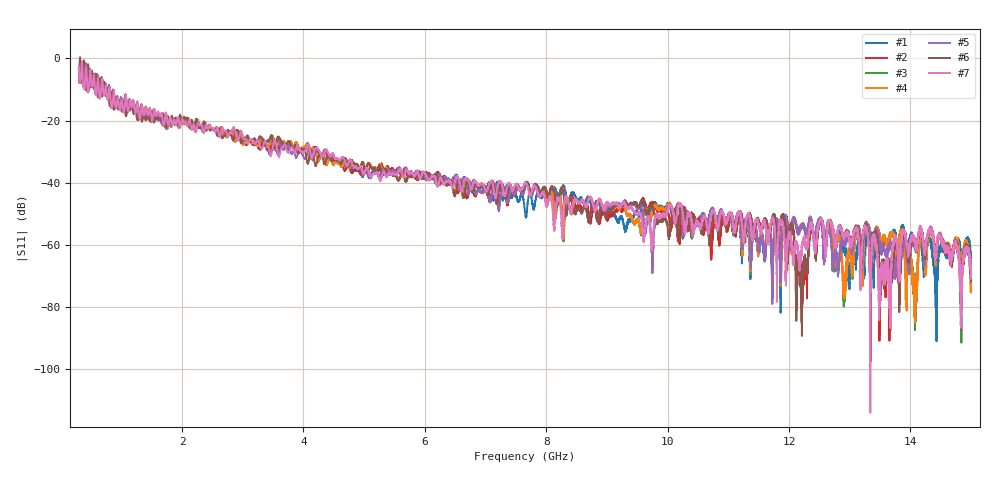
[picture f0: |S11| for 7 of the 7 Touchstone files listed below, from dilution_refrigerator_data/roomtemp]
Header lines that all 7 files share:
# GHZ S RI R 50.0
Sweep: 300 MHz to 15 GHz
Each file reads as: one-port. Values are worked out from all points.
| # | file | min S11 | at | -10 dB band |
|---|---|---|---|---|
| 1 | port1_roomtemp_repeat.s1p | -91.0 dB | 14.43 GHz | over 14.19 GHz wide |
| 2 | port2_roomtemp.s1p | -97.6 dB | 13.34 GHz | over 14.19 GHz wide |
| 3 | port3_roomtemp.s1p | -91.5 dB | 14.84 GHz | over 14.2 GHz wide |
| 4 | port3_roomtemp_repeat.s1p | -85.0 dB | 14.08 GHz | over 14.2 GHz wide |
| 5 | port4_roomtemp_repeat.s1p | -81.3 dB | 14.83 GHz | over 14.14 GHz wide |
| 6 | port5_roomtemp_repeat.s1p | -89.3 dB | 12.21 GHz | over 14.22 GHz wide |
| 7 | port6_roomtemp.s1p | -114.1 dB | 13.34 GHz | over 14.19 GHz wide |
